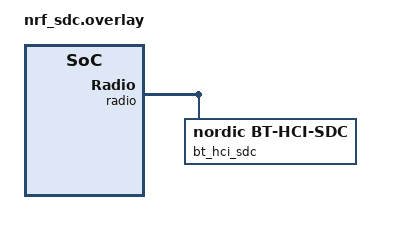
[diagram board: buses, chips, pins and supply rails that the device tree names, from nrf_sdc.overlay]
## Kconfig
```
# Test options

config INFUSE_REBOOT
	default y

config INFUSE_REBOOT_COMPILE
	default n

config INFUSE_REBOOT_RETURN
	default y

source "Kconfig.zephyr"
```

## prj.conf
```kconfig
CONFIG_INFUSE_SDK=y
CONFIG_TASK_RUNNER=y
CONFIG_BT=y
# Reduce maximum connections to make it easier to test saturation
CONFIG_BT_MAX_CONN=1
# Force hardcoded default name
CONFIG_KV_STORE_KEY_DEVICE_NAME=n
# MCUMGR
CONFIG_ZCBOR=y
CONFIG_MCUMGR=y
CONFIG_MCUMGR_TRANSPORT_BT=y
CONFIG_MCUMGR_GRP_IMG=y
CONFIG_MCUMGR_GRP_OS_INFUSE=y
CONFIG_MCUMGR_SMP_SUPPORT_ORIGINAL_PROTOCOL=n
```

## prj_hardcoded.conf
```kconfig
# Force hardcoded default name
CONFIG_KV_STORE_KEY_DEVICE_NAME=n
# MCUMGR
CONFIG_ZCBOR=y
CONFIG_MCUMGR=y
CONFIG_MCUMGR_TRANSPORT_BT=y
CONFIG_MCUMGR_GRP_IMG=y
CONFIG_MCUMGR_GRP_OS_INFUSE=y
CONFIG_MCUMGR_SMP_SUPPORT_ORIGINAL_PROTOCOL=n
```

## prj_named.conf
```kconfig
CONFIG_KV_STORE_KEY_DEVICE_NAME=y
```

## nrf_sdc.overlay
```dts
/ {
	chosen {
		zephyr,bt-hci = &bt_hci_sdc;
	};
};

&radio {
	bt_hci_sdc: bt_hci_sdc {
		compatible = "nordic,bt-hci-sdc";
		status = "okay";
	};
	bt_hci_controller {
		status = "disabled";
	};
};
```

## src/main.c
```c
/**
 * Copyright (c) 2024 Embeint Holdings Pty Ltd
 *
 * SPDX-License-Identifier: Apache-2.0
 */

#include <zephyr/kernel.h>
#include <zephyr/logging/log.h>
#include <zephyr/bluetooth/bluetooth.h>

#include "bs_types.h"
#include "bs_tracing.h"
#include "time_machine.h"
#include "bstests.h"

#include <infuse/bluetooth/legacy_adv.h>
#include <infuse/epacket/interface.h>
#include <infuse/data_logger/high_level/tdf.h>
#include <infuse/fs/kv_store.h>
#include <infuse/fs/kv_types.h>
#include <infuse/tdf/definitions.h>
#include <infuse/reboot.h>

#define FAIL(...)                                                                                  \
	do {                                                                                       \
		bst_result = Failed;                                                               \
		bs_trace_error_time_line(__VA_ARGS__);                                             \
	} while (0)

#define PASS(...)                                                                                  \
	do {                                                                                       \
		bst_result = Passed;                                                               \
		bs_trace_info_time(1, "PASSED: " __VA_ARGS__);                                     \
	} while (0)

#define WAIT_SECONDS 30                            /* seconds */
#define WAIT_TIME    (WAIT_SECONDS * USEC_PER_SEC) /* microseconds*/

extern enum bst_result_t bst_result;
static int connection_notifications;
static int disconnection_notifications;
static K_SEM_DEFINE(reboot_request, 0, 1);

LOG_MODULE_REGISTER(app, LOG_LEVEL_INF);

int infuse_reboot_state_query(struct infuse_reboot_state *state)
{
	return -ENOENT;
}

void infuse_reboot_hard(enum infuse_reboot_reason reason, uint32_t info1, uint32_t info2)
{
	k_sem_give(&reboot_request);
}

void infuse_reboot_schedule(enum infuse_reboot_reason reason, uint32_t info1, uint32_t info2,
			    k_timeout_t delay)
{
	k_sem_give(&reboot_request);
}

static void peripheral_interface_state(uint16_t current_max_payload, void *user_ctx)
{
	if (current_max_payload > 0) {
		connection_notifications += 1;
	} else {
		disconnection_notifications += 1;
	}
	LOG_INF("Peripheral: %s (Payload %d)",
		current_max_payload > 0 ? "Connected" : "Disconnected", current_max_payload);
}

static void main_epacket_bt_legacy_broadcast(void)
{
	const struct device *epacket_bt_periph = DEVICE_DT_GET(DT_NODELABEL(epacket_bt_peripheral));
	struct tdf_announce_v2 announce = {0};
	struct epacket_interface_cb interface_cb = {
		.interface_state = peripheral_interface_state,
	};

	epacket_register_callback(epacket_bt_periph, &interface_cb);

	LOG_INF("Single ePacket to simplify peer discovery");
	k_sleep(K_MSEC(100));
	TDF_DATA_LOGGER_LOG(TDF_DATA_LOGGER_BT_ADV, TDF_ANNOUNCE_V2, 0, &announce);
	tdf_data_logger_flush(TDF_DATA_LOGGER_BT_ADV);

	LOG_INF("Starting legacy advertiser");

	if (bluetooth_legacy_advertising_run() < 0) {
		FAIL("Failed to start legacy advertiser\n");
		return;
	}

	/* Only push ePackets over GATT after that */
	for (int i = 0; i < 9; i++) {
		announce.uptime = k_uptime_seconds();
		TDF_DATA_LOGGER_LOG(TDF_DATA_LOGGER_BT_PERIPHERAL, TDF_ANNOUNCE_V2, 0, &announce);
		tdf_data_logger_flush(TDF_DATA_LOGGER_BT_ADV);
		k_sleep(K_SECONDS(1));
	}

	PASS("Legacy advertising device complete\n");
}

#define NAME_1 "BOB"
#define NAME_2 "SALLY"

static void main_legacy_adv_name_update(void)
{
	KV_STRING_CONST(default_name, NAME_1);
	KV_STRING_CONST(updated_name, NAME_2);

	if (kv_store_write(KV_KEY_DEVICE_NAME, &default_name, sizeof(default_name)) < 0) {
		FAIL("Failed to write device name\n");
		return;
	}

	if (bluetooth_legacy_advertising_run() < 0) {
		FAIL("Failed to start legacy advertiser\n");
		return;
	}

	k_sleep(K_SECONDS(2));

	/* Write a new name to the store */
	if (kv_store_write(KV_KEY_DEVICE_NAME, &updated_name, sizeof(updated_name)) < 0) {
		FAIL("Failed to write updated device name\n");
		return;
	}

	k_sleep(K_SECONDS(2));

	/* Delete the name */
	if (kv_store_delete(KV_KEY_DEVICE_NAME) < 0) {
		FAIL("Failed to write delete device name\n");
		return;
	}

	k_sleep(K_SECONDS(2));

	PASS("Legacy advertising device complete\n");
}

static bool seen_name_1;
static bool seen_name_2;
static bool seen_name_default;

static void scan_cb(const bt_addr_le_t *addr, int8_t rssi, uint8_t adv_type,
		    struct net_buf_simple *buf)
{
	const char *name;

	/* Only look at legacy advertising packets with a name */
	if (adv_type != BT_GAP_ADV_TYPE_ADV_IND) {
		return;
	}
	if (buf->data[1] != BT_DATA_NAME_COMPLETE) {
		return;
	}
	name = buf->data + 2;

	/* Compare against the names we expect to see */
	if (buf->data[0] == (1 + strlen(NAME_1)) && strncmp(NAME_1, name, strlen(NAME_1)) == 0) {
		seen_name_1 = true;
	}
	if (buf->data[0] == (1 + strlen(NAME_2)) && strncmp(NAME_2, name, strlen(NAME_2)) == 0) {
		seen_name_2 = true;
	}
	if (buf->data[0] == (1 + strlen(CONFIG_BT_DEVICE_NAME)) &&
	    strncmp(CONFIG_BT_DEVICE_NAME, name, strlen(CONFIG_BT_DEVICE_NAME)) == 0) {
		seen_name_default = true;
	}
}

static void main_legacy_adv_name_watcher(void)
{
	static const struct bt_le_scan_param scan_param = {
		.type = BT_LE_SCAN_TYPE_PASSIVE,
		.options = BT_LE_SCAN_OPT_NONE,
		/* 32 * 0.625 = 20ms */
		.interval = 0x0020,
		.window = 0x0020,
	};
	int rc;

	/* Run scanning for 8 seconds */
	rc = bt_le_scan_start(&scan_param, scan_cb);
	if (rc < 0) {
		FAIL("Failed to start scanning\n");
	}

	k_sleep(K_SECONDS(8));

	(void)bt_le_scan_stop();

	/* Expect to have seen all 3 names */
	if (!seen_name_1) {
		FAIL("Failed to observe '%s'\n", NAME_1);
		return;
	}
	if (!seen_name_2) {
		FAIL("Failed to observe '%s'\n", NAME_2);
		return;
	}
	if (!seen_name_default) {
		FAIL("Failed to observe '%s'\n", CONFIG_BT_DEVICE_NAME);
		return;
	}

	PASS("Legacy advertising name watcher complete\n");
}

static void main_legacy_adv_expect_reboot(void)
{
	const struct device *epacket_bt_periph = DEVICE_DT_GET(DT_NODELABEL(epacket_bt_peripheral));
	struct tdf_announce_v2 announce = {0};
	struct epacket_interface_cb interface_cb = {
		.interface_state = peripheral_interface_state,
	};
	int rc;

	epacket_register_callback(epacket_bt_periph, &interface_cb);

	LOG_INF("Single ePacket to simplify peer discovery");
	k_sleep(K_MSEC(100));
	TDF_DATA_LOGGER_LOG(TDF_DATA_LOGGER_BT_ADV, TDF_ANNOUNCE_V2, 0, &announce);
	tdf_data_logger_flush(TDF_DATA_LOGGER_BT_ADV);

	LOG_INF("Starting legacy advertiser");

	if (bluetooth_legacy_advertising_run() < 0) {
		FAIL("Failed to start legacy advertiser\n");
		return;
	}

	/* Wait for infuse_reboot_hard or infuse_reboot_delayable to be called */
	rc = k_sem_take(&reboot_request, K_SECONDS(5));
	if (rc != 0) {
		FAIL("Failed to be rebooted\n");
		return;
	}
	PASS("Device rebooted\n");

	/* Give the connection time to terminate */
	k_sleep(K_SECONDS(2));
}

void test_tick(bs_time_t HW_device_time)
{
	if (bst_result != Passed) {
		FAIL("test failed (not passed after %i seconds)\n", WAIT_SECONDS);
	}
}

void test_init(void)
{
	bst_ticker_set_next_tick_absolute(WAIT_TIME);
	bst_result = In_progress;
}

static const struct bst_test_instance legacy_adv_advertiser[] = {
	{
		.test_id = "epacket_bt_legacy_adv",
		.test_descr = "Basic Infuse-IoT Bluetooth device advertising on legacy channels",
		.test_pre_init_f = test_init,
		.test_tick_f = test_tick,
		.test_main_f = main_epacket_bt_legacy_broadcast,
	},
	{
		.test_id = "legacy_adv_name_update",
		.test_descr = "Test updating the device name through KV store",
		.test_pre_init_f = test_init,
		.test_tick_f = test_tick,
		.test_main_f = main_legacy_adv_name_update,
	},
	{
		.test_id = "legacy_adv_name_scanner",
		.test_descr = "Watch names being advertised",
		.test_pre_init_f = test_init,
		.test_tick_f = test_tick,
		.test_main_f = main_legacy_adv_name_watcher,
	},
	{
		.test_id = "legacy_adv_expect_reboot",
		.test_descr = "Expect to be rebooted",
		.test_pre_init_f = test_init,
		.test_tick_f = test_tick,
		.test_main_f = main_legacy_adv_expect_reboot,
	},
	BSTEST_END_MARKER,
};

struct bst_test_list *test_legacy_adv(struct bst_test_list *tests)
{
	return bst_add_tests(tests, legacy_adv_advertiser);
}

bst_test_install_t test_installers[] = {test_legacy_adv, NULL};

int main(void)
{
	bst_main();
	return 0;
}
```
